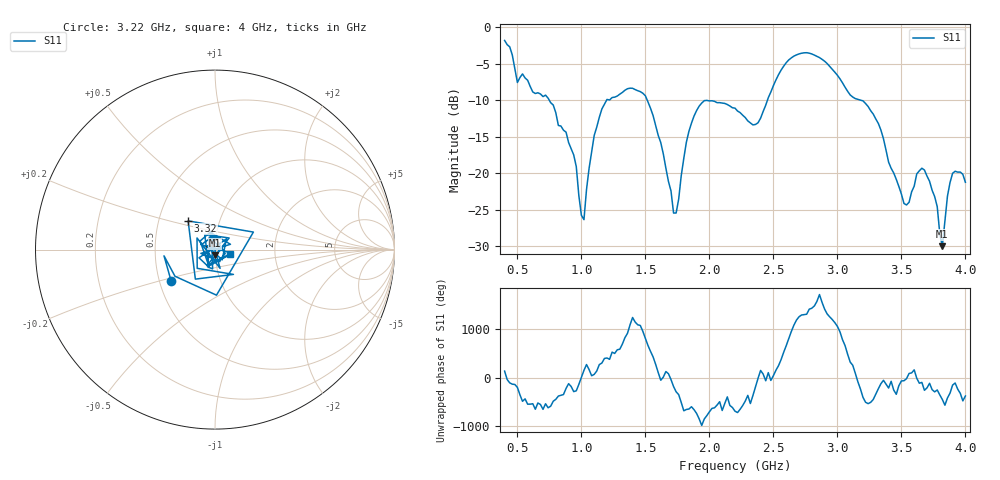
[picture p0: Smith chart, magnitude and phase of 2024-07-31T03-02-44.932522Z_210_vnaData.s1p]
!Created with skrf (http://scikit-rf.org).
# Hz S RI R 50.0
!freq ReS11 ImS11
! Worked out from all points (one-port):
!   181 points, 400 MHz to 4 GHz, reference 50 ohm
!   lowest |S11| = -30.0 dB at 3.82 GHz (marker M1), VSWR 1.07, Z = 50 - j3.18 ohm
!   |S11| at or under -10 dB: 748.7 MHz to 1.197 GHz (448.3 MHz wide, 46.1 % of centre); 1.514 GHz to 2.454 GHz (939.2 MHz wide, 47.3 % of centre); 3.181 GHz to end of sweep
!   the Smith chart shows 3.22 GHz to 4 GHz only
!   S11 on the Smith chart (normalised r, x): 3.22 GHz: 0.58, -0.22; 3.32 GHz: 0.71, +0.24; 4 GHz: 1.18, -0.06
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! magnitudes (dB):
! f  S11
! 400 MHz  -1.8
! 500 MHz  -7.6
! 720 MHz  -9.3
! 860 MHz  -14.1
! 940 MHz  -17.5
! 1.02 GHz  -26.3
! 1.06 GHz  -19.3
! 1.14 GHz  -12.3
! 1.3 GHz  -9.2
! 1.5 GHz  -9.4
! 1.62 GHz  -15.8
! 1.72 GHz  -25.4
! 1.76 GHz  -23.5
! 1.82 GHz  -15.8
! 1.92 GHz  -10.8
! 2.2 GHz  -11.1
! 2.38 GHz  -13.1
! 2.66 GHz  -4.0
! 2.88 GHz  -4.4
! 3.1 GHz  -9.3
! 3.22 GHz  -10.5
! 3.32 GHz  -13.2
! 3.56 GHz  -24.0
! 3.68 GHz  -19.5
! 3.78 GHz  -24.6
! 3.82 GHz  -30.0
! 3.9 GHz  -20.0
! 4 GHz  -21.2
